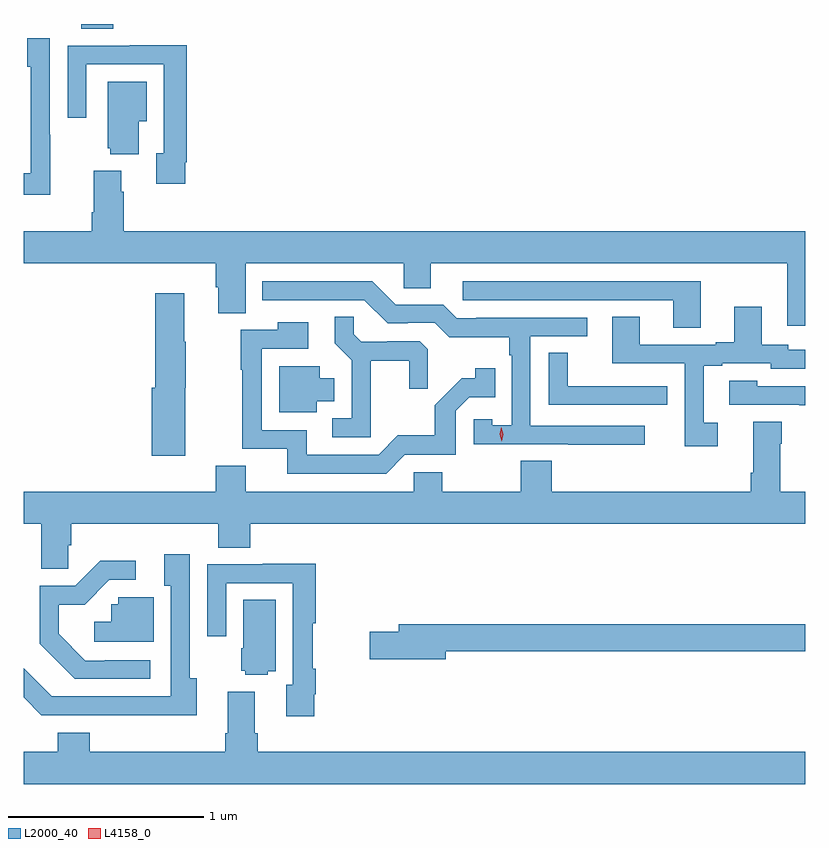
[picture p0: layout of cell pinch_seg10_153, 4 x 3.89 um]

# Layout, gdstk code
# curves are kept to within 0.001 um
import gdstk
lib = gdstk.Library(unit=1e-6, precision=1e-09)
def R(c, l, rs):  # rectangles x0, y0, x1, y1
    for r in rs: c.add(gdstk.rectangle(r[:2], r[2:], *l))
def P(c, l, *ps):  # polygons
    for p in ps: c.add(gdstk.Polygon(p, *l))
L2000_40 = (2000, 40)
L4158_0 = (4158, 0)

pinch_seg10_153 = lib.new_cell('pinch_seg10_153')
R(pinch_seg10_153, L2000_40, [(733.955,1277.539,734.12,1277.564)])
P(pinch_seg10_153, L2000_40, [(733.797,1276.997),(733.794,1276.997),(733.794,1277.491),(733.679,1277.491),(733.679,1277.346),(733.698,1277.346),(733.698,1276.801),(733.661,1276.801),(733.661,1276.691),(733.797,1276.691)],
  [(734.488,1276.858),(734.495,1276.858),(734.495,1277.456),(734.203,1277.456),(734.203,1277.454),(733.887,1277.454),(733.887,1277.085),(733.983,1277.085),(733.983,1277.358),(734.379,1277.358),(734.379,1276.902),(734.339,1276.902),(734.339,1276.746),(734.488,1276.746)],
  [(734.251,1277.066),(734.29,1277.066),(734.29,1277.269),(734.093,1277.269),(734.093,1276.929),(734.105,1276.929),(734.105,1276.898),(734.251,1276.898)],
  [(737.661,1276.504),(734.174,1276.504),(734.174,1276.706),(734.161,1276.706),(734.161,1276.813),(734.021,1276.813),(734.021,1276.6),(734.009,1276.6),(734.009,1276.504),(733.661,1276.504),(733.661,1276.34),(734.645,1276.34),(734.645,1276.218),(734.657,1276.218),(734.657,1276.084),(734.797,1276.084),(734.797,1276.34),(735.606,1276.34),(735.606,1276.213),(735.745,1276.213),(735.745,1276.34),(737.567,1276.34),(737.567,1276.02),(737.661,1276.02)],
  [(736.84,1275.51),(736.254,1275.51),(736.254,1275.966),(736.546,1275.966),(736.546,1276.062),(735.976,1276.062),(735.976,1276.059),(735.876,1276.059),(735.807,1276.128),(735.564,1276.128),(735.444,1276.248),(734.882,1276.248),(734.882,1276.152),(735.405,1276.152),(735.525,1276.032),(735.626,1276.032),(735.626,1276.035),(735.765,1276.035),(735.838,1275.962),(736.146,1275.962),(736.146,1275.869),(736.158,1275.869),(736.158,1275.511),(736.059,1275.511),(736.059,1275.543),(735.963,1275.543),(735.963,1275.414),(736.447,1275.414),(736.447,1275.412),(736.84,1275.412)],
  [(737.125,1276.248),(735.909,1276.248),(735.909,1276.152),(736.985,1276.152),(736.985,1276.009),(737.125,1276.009)],
  [(734.488,1275.702),(734.49,1275.702),(734.49,1275.938),(734.482,1275.938),(734.482,1276.186),(734.336,1276.186),(734.336,1275.702),(734.318,1275.702),(734.318,1275.354),(734.488,1275.354)],
  [(737.212,1275.525),(737.14,1275.525),(737.14,1275.816),(737.236,1275.816),(737.236,1275.828),(737.484,1275.828),(737.484,1275.801),(737.661,1275.801),(737.661,1275.897),(737.574,1275.897),(737.574,1275.924),(737.437,1275.924),(737.437,1276.117),(737.297,1276.117),(737.297,1275.937),(737.201,1275.937),(737.201,1275.924),(736.813,1275.924),(736.813,1276.067),(736.673,1276.067),(736.673,1275.828),(737.043,1275.828),(737.043,1275.405),(737.212,1275.405)],
  [(735.437,1275.842),(735.634,1275.842),(735.634,1275.699),(735.728,1275.699),(735.728,1275.901),(735.687,1275.942),(735.522,1275.942),(735.522,1275.939),(735.388,1275.939),(735.351,1275.976),(735.351,1276.067),(735.253,1276.067),(735.253,1275.931),(735.339,1275.845),(735.339,1275.546),(735.24,1275.546),(735.24,1275.45),(735.437,1275.45)],
  [(735.612,1275.36),(735.873,1275.36),(735.873,1275.585),(735.942,1275.654),(736.073,1275.654),(736.073,1275.802),(735.972,1275.802),(735.972,1275.752),(735.902,1275.752),(735.765,1275.614),(735.765,1275.459),(735.576,1275.459),(735.477,1275.36),(735.109,1275.36),(735.109,1275.486),(734.88,1275.486),(734.88,1275.903),(735.118,1275.903),(735.118,1276.039),(734.962,1276.039),(734.962,1275.999),(734.772,1275.999),(734.772,1275.796),(734.779,1275.796),(734.779,1275.39),(735.011,1275.39),(735.011,1275.264),(735.516,1275.264)],
  [(736.954,1275.71),(736.841,1275.71),(736.841,1275.711),(736.446,1275.711),(736.446,1275.881),(736.347,1275.881),(736.347,1275.615),(736.954,1275.615)],
  [(735.16,1275.635),(735.25,1275.635),(735.25,1275.751),(735.175,1275.751),(735.175,1275.814),(734.969,1275.814),(734.969,1275.578),(735.16,1275.578)],
  [(737.661,1275.711),(737.415,1275.711),(737.415,1275.739),(737.271,1275.739),(737.271,1275.615),(737.629,1275.615),(737.629,1275.613),(737.661,1275.613)],
  [(733.889,1274.898),(733.904,1274.898),(733.904,1275.008),(734.657,1275.008),(734.657,1274.884),(734.822,1274.884),(734.822,1275.008),(737.661,1275.008),(737.661,1275.172),(737.533,1275.172),(737.533,1275.416),(737.541,1275.416),(737.541,1275.529),(737.393,1275.529),(737.393,1275.268),(737.381,1275.268),(737.381,1275.172),(736.364,1275.172),(736.364,1275.329),(736.204,1275.329),(736.204,1275.172),(735.804,1275.172),(735.804,1275.27),(735.657,1275.27),(735.657,1275.172),(734.797,1275.172),(734.797,1275.305),(734.645,1275.305),(734.645,1275.172),(733.661,1275.172),(733.661,1275.008),(733.751,1275.008),(733.751,1274.776),(733.889,1274.776)],
  [(734.548,1274.218),(734.511,1274.218),(734.511,1274.851),(734.381,1274.851),(734.381,1274.69),(734.415,1274.69),(734.415,1274.124),(733.806,1274.124),(733.661,1274.269),(733.661,1274.119),(733.752,1274.028),(734.548,1274.027)],
  [(734.308,1274.31),(734.077,1274.31),(734.077,1274.307),(733.977,1274.307),(733.84,1274.444),(733.84,1274.594),(733.973,1274.594),(734.1,1274.721),(734.236,1274.721),(734.236,1274.819),(734.054,1274.819),(733.926,1274.691),(733.743,1274.691),(733.743,1274.393),(733.922,1274.214),(734.308,1274.214)],
  [(735.148,1274.134),(735.155,1274.134),(735.155,1274.266),(735.14,1274.266),(735.14,1274.499),(735.155,1274.499),(735.155,1274.803),(734.885,1274.803),(734.885,1274.799),(734.601,1274.799),(734.601,1274.433),(734.697,1274.433),(734.697,1274.703),(735.039,1274.703),(735.039,1274.183),(735.005,1274.183),(735.005,1274.022),(735.148,1274.022)],
  [(734.326,1274.631),(734.145,1274.631),(734.145,1274.595),(734.109,1274.595),(734.109,1274.506),(734.022,1274.506),(734.022,1274.403),(734.326,1274.403)],
  [(734.91,1274.252),(734.95,1274.252),(734.95,1274.618),(734.786,1274.618),(734.786,1274.37),(734.774,1274.37),(734.774,1274.256),(734.796,1274.256),(734.796,1274.234),(734.91,1274.234)],
  [(735.82,1274.356),(737.661,1274.356),(737.661,1274.492),(735.581,1274.492),(735.581,1274.456),(735.432,1274.456),(735.432,1274.314),(735.82,1274.314)],
  [(737.661,1273.84),(734.858,1273.84),(734.858,1273.936),(734.845,1273.936),(734.845,1274.149),(734.705,1274.149),(734.705,1273.936),(734.693,1273.936),(734.693,1273.84),(734,1273.84),(734,1273.939),(733.835,1273.939),(733.835,1273.84),(733.661,1273.84),(733.661,1273.676),(737.661,1273.676)])
P(pinch_seg10_153, L4158_0, [(736.107,1275.429),(736.107,1275.429),(736.096,1275.465),(736.104,1275.501),(736.104,1275.501),(736.105,1275.501),(736.116,1275.466),(736.107,1275.429)])

lib.write_gds('pinch_seg10_153.gds')
